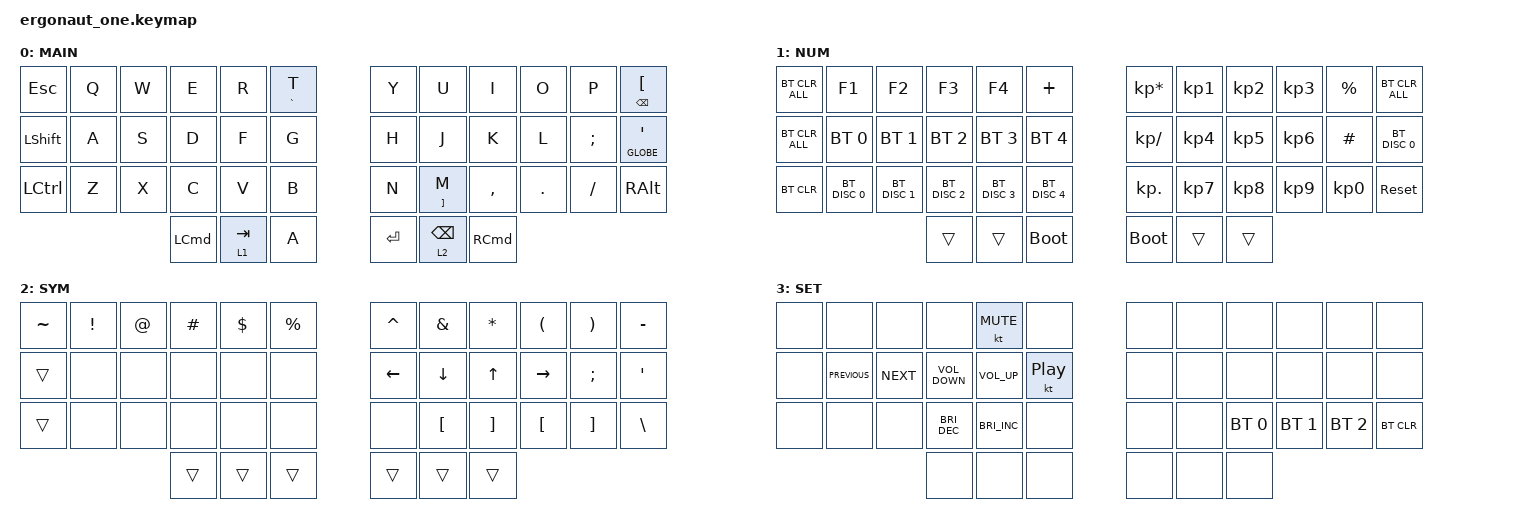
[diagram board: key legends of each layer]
#include <behaviors.dtsi>
#include <dt-bindings/zmk/bt.h>
#include <dt-bindings/zmk/keys.h>

#define DEF 0
#define LWR 1
#define RSE 2
#define ADJ 3

&lt { quick-tap-ms = <200>; };

&mt { quick-tap-ms = <200>; };

/ {
    conditional_layers {
        compatible = "zmk,conditional-layers";

        set-layer {
            if-layers = <1 2>;
            then-layer = <3>;
        };
    };

    combos {
        compatible = "zmk,combos";

        soft_reset_right {
            bindings = <&sys_reset>;
            key-positions = <9 10 11 30>;
            timeout-ms = <5000>;
            layers = <0>;
        };

        soft_reset_left {
            bindings = <&sys_reset>;
            key-positions = <0 1 2 29>;
            timeout-ms = <5000>;
            layers = <0>;
        };

        hard_reset_right {
            bindings = <&bootloader>;
            key-positions = <8 9 10 11 30>;
            timeout-ms = <5000>;
            layers = <0>;
        };

        hard_reset_left {
            bindings = <&bootloader>;
            key-positions = <0 1 2 3 29>;
            layers = <0>;
            timeout-ms = <5000>;
        };
    };

    keymap {
        compatible = "zmk,keymap";

        default_layer {
            display-name = "MAIN";
            bindings = <
&kp ESCAPE        &kp Q  &kp W  &kp E             &kp R      &mt GRAVE T  &kp Y      &kp U                &kp I              &kp O    &kp P     &mt BACKSPACE LEFT_BRACKET
&kp LEFT_SHIFT    &kp A  &kp S  &kp D             &kp F      &kp G        &kp H      &kp J                &kp K              &kp L    &kp SEMI  &mt GLOBE SINGLE_QUOTE
&kp LEFT_CONTROL  &kp Z  &kp X  &kp C             &kp V      &kp B        &kp N      &mt RIGHT_BRACKET M  &kp COMMA          &kp DOT  &kp FSLH  &kp RIGHT_ALT
                                &kp LEFT_COMMAND  &lt 1 TAB  &kp A        &kp ENTER  &lt 2 BACKSPACE      &kp RIGHT_COMMAND
            >;
        };

        lower_layer {
            display-name = "NUM";
            bindings = <
&bt BT_CLR_ALL  &kp F1         &kp F2         &kp F3         &kp F4         &kp PLUS       &kp KP_MULTIPLY  &kp KP_NUMBER_1  &kp KP_NUMBER_2  &kp KP_NUMBER_3  &kp PERCENT      &bt BT_CLR_ALL
&bt BT_CLR_ALL  &bt BT_SEL 0   &bt BT_SEL 1   &bt BT_SEL 2   &bt BT_SEL 3   &bt BT_SEL 4   &kp KP_DIVIDE    &kp KP_NUMBER_4  &kp KP_NUMBER_5  &kp KP_NUMBER_6  &kp HASH         &bt BT_DISC 0
&bt BT_CLR      &bt BT_DISC 0  &bt BT_DISC 1  &bt BT_DISC 2  &bt BT_DISC 3  &bt BT_DISC 4  &kp KP_DOT       &kp KP_NUMBER_7  &kp KP_NUMBER_8  &kp KP_NUMBER_9  &kp KP_NUMBER_0  &sys_reset
                                              &trans         &trans         &bootloader    &bootloader      &trans           &trans
            >;
        };

        raise_layer {
            display-name = "SYM";
            bindings = <
&kp TILDE  &kp EXCL  &kp AT_SIGN  &kp HASH  &kp DOLLAR  &kp PERCENT  &kp CARET       &kp AMPERSAND     &kp ASTERISK       &kp LEFT_PARENTHESIS  &kp RIGHT_PARENTHESIS  &kp MINUS
&trans     &none     &none        &none     &none       &none        &kp LEFT_ARROW  &kp DOWN_ARROW    &kp UP_ARROW       &kp RIGHT_ARROW       &kp SEMICOLON          &kp APOSTROPHE
&trans     &none     &none        &none     &none       &none        &none           &kp LEFT_BRACKET  &kp RIGHT_BRACKET  &kp LEFT_BRACKET      &kp RIGHT_BRACKET      &kp BACKSLASH
                                  &trans    &trans      &trans       &trans          &trans            &trans
            >;
        };

        setting_layer {
            display-name = "SET";
            bindings = <
&none  &none           &none       &none                 &kt C_MUTE            &none             &none  &none  &none         &none         &none         &none
&none  &kp C_PREVIOUS  &kp C_NEXT  &kp C_VOLUME_DOWN     &kp C_VOLUME_UP       &kt C_PLAY_PAUSE  &none  &none  &none         &none         &none         &none
&none  &none           &none       &kp C_BRIGHTNESS_DEC  &kp C_BRIGHTNESS_INC  &none             &none  &none  &bt BT_SEL 0  &bt BT_SEL 1  &bt BT_SEL 2  &bt BT_CLR
                                   &none                 &none                 &none             &none  &none  &none
            >;
        };
    };
};
